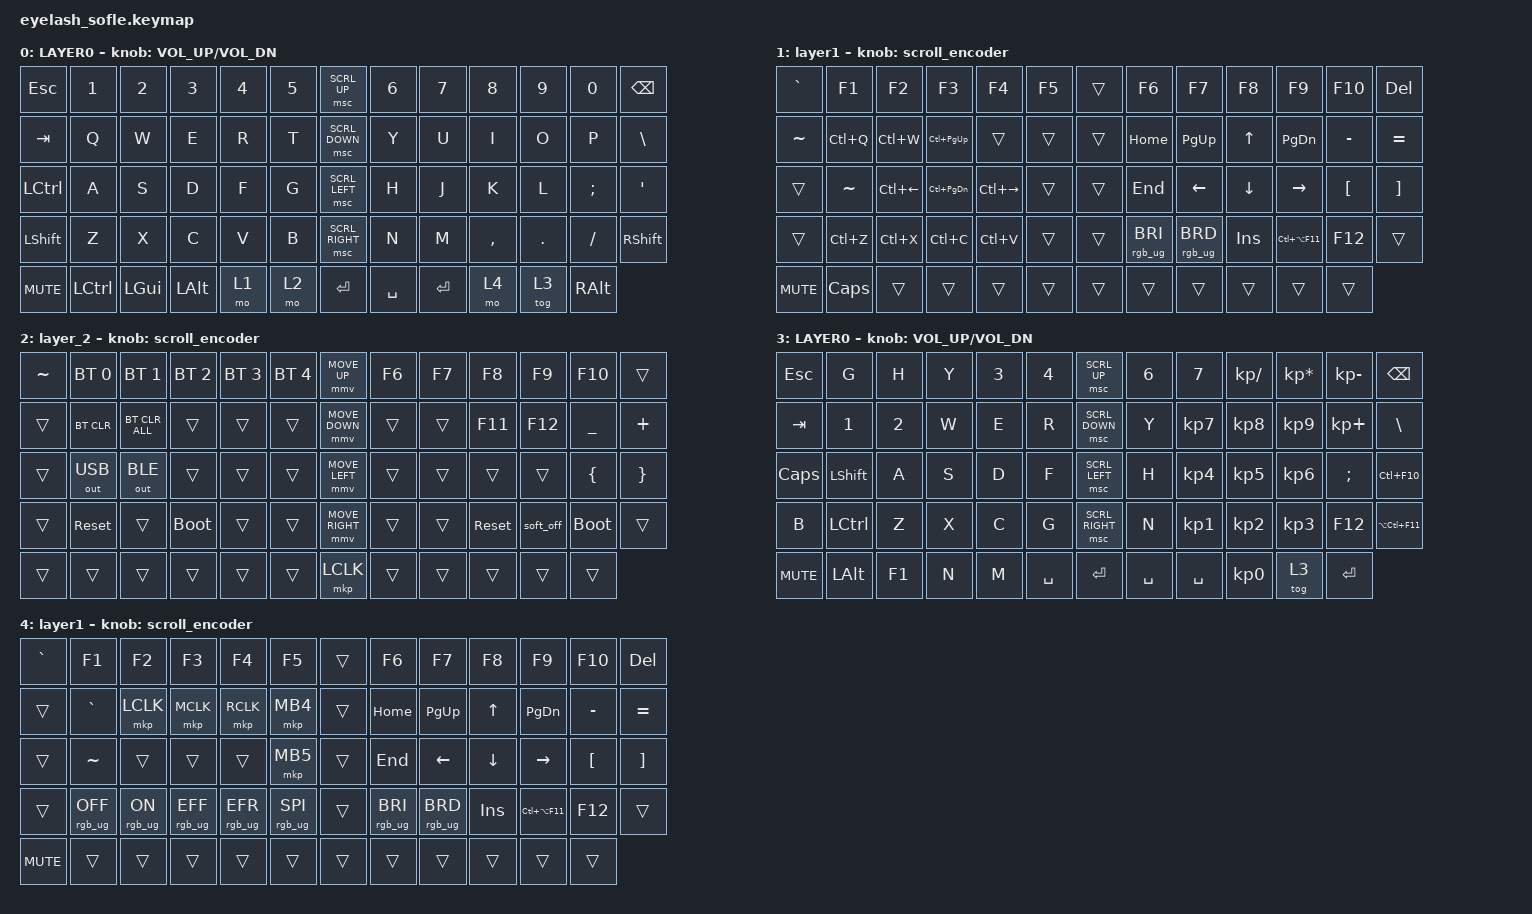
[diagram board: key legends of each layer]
#define ZMK_POINTING_DEFAULT_MOVE_VAL 1200  // 600
#define ZMK_POINTING_DEFAULT_SCRL_VAL 25   // 10

#include <input/processors.dtsi>
#include <zephyr/dt-bindings/input/input-event-codes.h>
#include <behaviors.dtsi>
#include <dt-bindings/zmk/bt.h>
#include <dt-bindings/zmk/keys.h>
#include <dt-bindings/zmk/outputs.h>
#include <dt-bindings/zmk/pointing.h>
#include <dt-bindings/zmk/rgb.h>

&mmv_input_listener { input-processors = <&zip_xy_scaler 2 1>; };

&msc_input_listener { input-processors = <&zip_scroll_scaler 2 1>; };

&msc {
    acceleration-exponent = <1>;      // 0
    time-to-max-speed-ms = <100>;       // 300
    delay-ms = <0>;                   // 0
};

&mmv {
    time-to-max-speed-ms = <500>;
    acceleration-exponent = <1>;
    trigger-period-ms = <16>;
};

/ {
    scroll_encoder: scroll_encoder {
        compatible = "zmk,behavior-sensor-rotate";
        #sensor-binding-cells = <0>;
        bindings = <&msc SCRL_DOWN>, <&msc SCRL_UP>;

        tap-ms = <100>;
    };

    behaviors {
    };

    keymap {
        compatible = "zmk,keymap";

        layer0 {
            bindings = <
&kp ESC     &kp N1     &kp N2        &kp N3        &kp N4  &kp N5    &msc SCRL_UP     &kp N6     &kp N7     &kp N8     &kp N9   &kp N0         &kp BACKSPACE
&kp TAB     &kp Q      &kp W         &kp E         &kp R   &kp T     &msc SCRL_DOWN   &kp Y      &kp U      &kp I      &kp O    &kp P          &kp BSLH
&kp LCTRL   &kp A      &kp S         &kp D         &kp F   &kp G     &msc SCRL_LEFT   &kp H      &kp J      &kp K      &kp L    &kp SEMI       &kp APOS
&kp LSHFT   &kp Z      &kp X         &kp C         &kp V   &kp B     &msc SCRL_RIGHT  &kp N      &kp M      &kp COMMA  &kp DOT  &kp FSLH       &kp RIGHT_SHIFT
&kp C_MUTE  &kp LCTRL  &kp LEFT_GUI  &kp LEFT_ALT  &mo 1   &mo 2     &kp ENTER        &kp SPACE  &kp ENTER  &mo 4      &tog 3   &kp RIGHT_ALT
            >;

            sensor-bindings = <&inc_dec_kp C_VOLUME_UP C_VOL_DN>;
            display-name = "LAYER0";
        };

        layer_1 {
            bindings = <
&kp GRAVE   &kp F1     &kp F2        &kp F3             &kp F4         &kp F5    &trans  &kp F6           &kp F7           &kp F8      &kp F9           &kp F10           &kp DEL
&kp TILDE   &kp LC(Q)  &kp LC(W)     &kp LC(PAGE_UP)    &trans         &trans    &trans  &kp HOME         &kp PAGE_UP      &kp UP      &kp PAGE_DOWN    &kp MINUS         &kp EQUAL
&trans      &kp TILDE  &kp LC(LEFT)  &kp LC(PAGE_DOWN)  &kp LC(RIGHT)  &trans    &trans  &kp END          &kp LEFT         &kp DOWN    &kp RIGHT        &kp LEFT_BRACKET  &kp RIGHT_BRACKET
&trans      &kp LC(Z)  &kp LC(X)     &kp LC(C)          &kp LC(V)      &trans    &trans  &rgb_ug RGB_BRI  &rgb_ug RGB_BRD  &kp INSERT  &kp LC(LA(F11))  &kp F12           &trans
&kp C_MUTE  &kp CAPS   &trans        &trans             &trans         &trans    &trans  &trans           &trans           &trans      &trans           &trans
            >;

            display-name = "layer1";
            sensor-bindings = <&scroll_encoder>;
        };

        layer_2 {
            bindings = <
&kp TILDE  &bt BT_SEL 0  &bt BT_SEL 1    &bt BT_SEL 2  &bt BT_SEL 3  &bt BT_SEL 4    &mmv MOVE_UP     &kp F6  &kp F7  &kp F8      &kp F9     &kp F10      &trans
&trans     &bt BT_CLR    &bt BT_CLR_ALL  &trans        &trans        &trans          &mmv MOVE_DOWN   &trans  &trans  &kp F11     &kp F12    &kp UNDER    &kp PLUS
&trans     &out OUT_USB  &out OUT_BLE    &trans        &trans        &trans          &mmv MOVE_LEFT   &trans  &trans  &trans      &trans     &kp LBRC     &kp RBRC
&trans     &sys_reset    &trans          &bootloader   &trans        &trans          &mmv MOVE_RIGHT  &trans  &trans  &sys_reset  &soft_off  &bootloader  &trans
&trans     &trans        &trans          &trans        &trans        &trans          &mkp LCLK        &trans  &trans  &trans      &trans     &trans
            >;

            sensor-bindings = <&scroll_encoder>;
        };

        layer_3 {
            display-name = "LAYER0";
            bindings = <
&kp ESC     &kp G           &kp H         &kp Y  &kp NUMBER_3  &kp NUMBER_4    &msc SCRL_UP     &kp N6     &kp N7           &kp KP_DIVIDE    &kp KP_MULTIPLY  &kp KP_SUBTRACT  &kp BACKSPACE
&kp TAB     &kp NUMBER_1    &kp NUMBER_2  &kp W  &kp E         &kp R           &msc SCRL_DOWN   &kp Y      &kp KP_NUMBER_7  &kp KP_NUMBER_8  &kp KP_NUMBER_9  &kp KP_PLUS      &kp BSLH
&kp CLCK    &kp LEFT_SHIFT  &kp A         &kp S  &kp D         &kp F           &msc SCRL_LEFT   &kp H      &kp KP_NUMBER_4  &kp KP_NUMBER_5  &kp KP_NUMBER_6  &kp SEMI         &kp LC(F10)
&kp B       &kp LCTRL       &kp Z         &kp X  &kp C         &kp G           &msc SCRL_RIGHT  &kp N      &kp KP_NUMBER_1  &kp KP_NUMBER_2  &kp KP_NUMBER_3  &kp F12          &kp LA(LC(F11))
&kp C_MUTE  &kp LEFT_ALT    &kp F1        &kp N  &kp M         &kp SPACE       &kp ENTER        &kp SPACE  &kp SPACE        &kp KP_NUMBER_0  &tog 3           &kp ENTER
            >;

            sensor-bindings = <&inc_dec_kp C_VOLUME_UP C_VOL_DN>;
        };

        layer_4 {
            display-name = "layer1";
            bindings = <
&kp GRAVE   &kp F1           &kp F2          &kp F3           &kp F4           &kp F5             &trans  &kp F6           &kp F7           &kp F8      &kp F9           &kp F10           &kp DEL
&trans      &kp GRAVE        &mkp LCLK       &mkp MCLK        &mkp RCLK        &mkp MB4           &trans  &kp HOME         &kp PAGE_UP      &kp UP      &kp PAGE_DOWN    &kp MINUS         &kp EQUAL
&trans      &kp TILDE        &trans          &trans           &trans           &mkp MB5           &trans  &kp END          &kp LEFT         &kp DOWN    &kp RIGHT        &kp LEFT_BRACKET  &kp RIGHT_BRACKET
&trans      &rgb_ug RGB_OFF  &rgb_ug RGB_ON  &rgb_ug RGB_EFF  &rgb_ug RGB_EFR  &rgb_ug RGB_SPI    &trans  &rgb_ug RGB_BRI  &rgb_ug RGB_BRD  &kp INSERT  &kp LC(LA(F11))  &kp F12           &trans
&kp C_MUTE  &trans           &trans          &trans           &trans           &trans             &trans  &trans           &trans           &trans      &trans           &trans
            >;

            sensor-bindings = <&scroll_encoder>;
        };
    };
};
